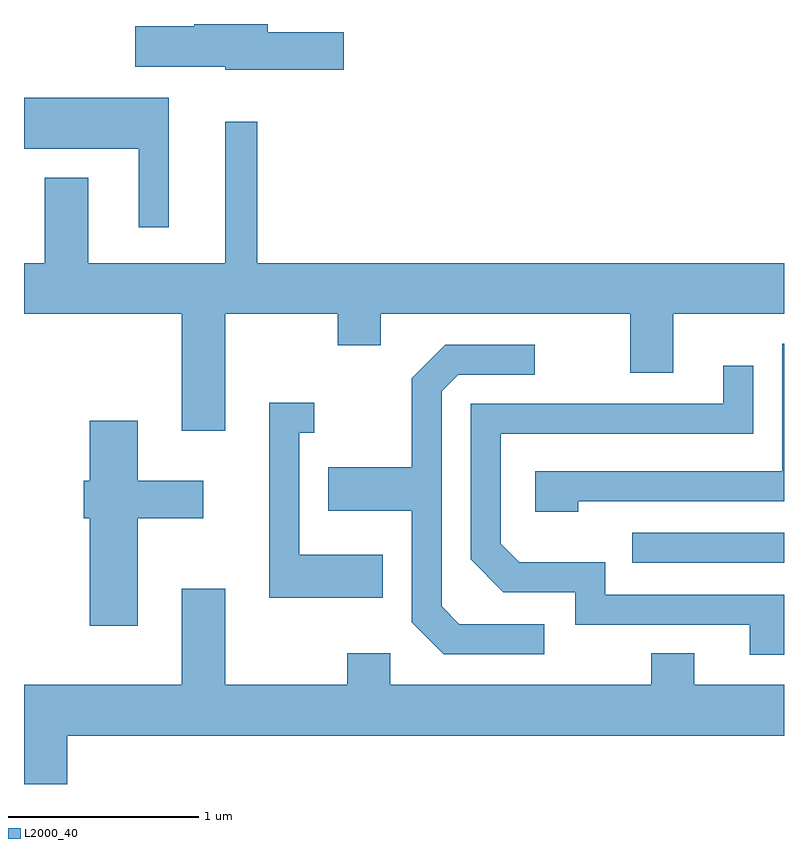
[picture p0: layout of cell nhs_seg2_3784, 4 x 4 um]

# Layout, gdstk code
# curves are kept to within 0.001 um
import gdstk
lib = gdstk.Library(unit=1e-6, precision=1e-09)
def R(c, l, rs):  # rectangles x0, y0, x1, y1
    for r in rs: c.add(gdstk.rectangle(r[:2], r[2:], *l))
def P(c, l, *ps):  # polygons
    for p in ps: c.add(gdstk.Polygon(p, *l))
L2000_40 = (2000, 40)

nhs_seg2_3784 = lib.new_cell('nhs_seg2_3784')
R(nhs_seg2_3784, L2000_40, [(298.813,1086.966,299.611,1087.124)])
P(nhs_seg2_3784, L2000_40, [(297.294,1089.759),(296.894,1089.759),(296.894,1089.802),(296.506,1089.802),(296.506,1089.789),(296.196,1089.789),(296.196,1089.576),(296.67,1089.576),(296.67,1089.561),(297.294,1089.561)],
  [(296.374,1089.414),(295.611,1089.414),(295.611,1089.146),(296.216,1089.146),(296.216,1088.733),(296.374,1088.733)],
  [(296.669,1088.276),(297.261,1088.276),(297.261,1088.111),(297.489,1088.111),(297.489,1088.276),(298.801,1088.276),(298.801,1087.966),(299.029,1087.966),(299.029,1088.276),(299.611,1088.276),(299.611,1088.544),(296.839,1088.544),(296.839,1089.288),(296.671,1089.288),(296.671,1088.544),(295.949,1088.544),(295.949,1088.994),(295.721,1088.994),(295.721,1088.544),(295.611,1088.544),(295.611,1088.276),(296.441,1088.276),(296.441,1087.661),(296.669,1087.661)],
  [(298.529,1087.291),(299.611,1087.291),(299.611,1088.119),(299.601,1088.119),(299.601,1087.449),(298.301,1087.449),(298.301,1087.236),(298.529,1087.236)],
  [(298.348,1086.644),(297.902,1086.644),(297.809,1086.737),(297.809,1087.869),(297.897,1087.956),(298.298,1087.956),(298.298,1088.114),(297.829,1088.114),(297.651,1087.937),(297.651,1087.469),(297.211,1087.469),(297.211,1087.241),(297.651,1087.241),(297.651,1086.654),(297.819,1086.486),(298.348,1086.486)],
  [(299.611,1086.799),(298.669,1086.799),(298.669,1086.969),(298.217,1086.969),(298.119,1087.067),(298.119,1087.646),(299.449,1087.646),(299.449,1088.003),(299.291,1088.003),(299.291,1087.804),(297.961,1087.804),(297.961,1086.984),(298.134,1086.811),(298.511,1086.811),(298.511,1086.641),(299.431,1086.641),(299.431,1086.481),(299.611,1086.481)],
  [(297.499,1087.009),(297.059,1087.009),(297.059,1087.651),(297.138,1087.651),(297.138,1087.809),(296.901,1087.809),(296.901,1086.781),(297.499,1086.781)],
  [(296.209,1087.201),(296.554,1087.201),(296.554,1087.399),(296.209,1087.399),(296.209,1087.714),(295.956,1087.714),(295.956,1087.399),(295.926,1087.399),(295.926,1087.201),(295.956,1087.201),(295.956,1086.636),(296.209,1086.636)],
  [(295.839,1086.056),(299.611,1086.056),(299.611,1086.324),(299.139,1086.324),(299.139,1086.489),(298.911,1086.489),(298.911,1086.324),(297.539,1086.324),(297.539,1086.489),(297.311,1086.489),(297.311,1086.324),(296.669,1086.324),(296.669,1086.829),(296.441,1086.829),(296.441,1086.324),(295.611,1086.324),(295.611,1085.802),(295.839,1085.802)])

lib.write_gds('nhs_seg2_3784.gds')
